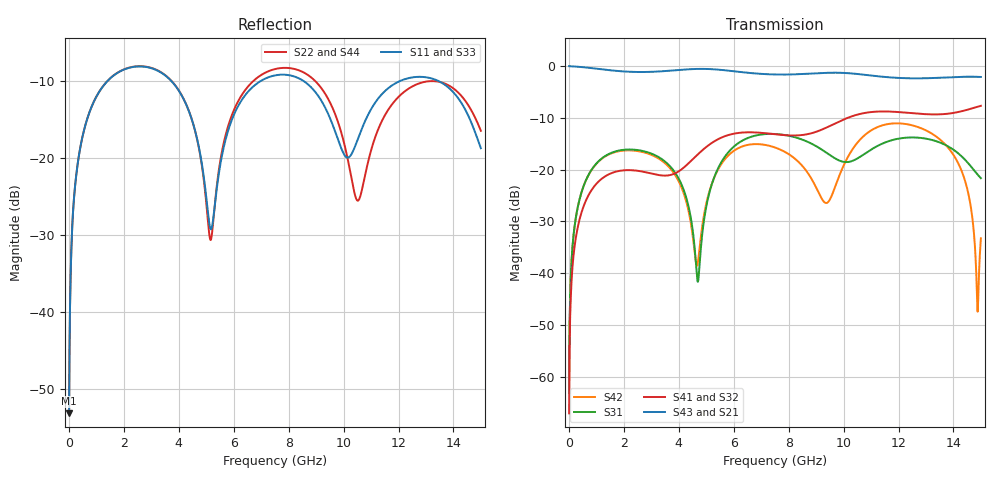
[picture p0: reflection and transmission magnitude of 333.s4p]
! Created with skrf 1.8.0 (http://scikit-rf.org).
# GHz S RI R 50.0
!freq ReS11 ImS11 ReS12 ImS12 ReS13 ImS13
! ReS14 ImS14
! ReS21 ImS21 ReS22 ImS22 ReS23 ImS23
! ReS24 ImS24
! ReS31 ImS31 ReS32 ImS32 ReS33 ImS33
! ReS34 ImS34
! ReS41 ImS41 ReS42 ImS42 ReS43 ImS43
! ReS44 ImS44
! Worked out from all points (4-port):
!   2499 points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, 5 MHz to 15 GHz, reference 50 ohm
!   strongest paths, dB at 5 MHz, 3.476 GHz, 7.19 GHz, 11.1 GHz, 15 GHz:
!     S43: 0.0, -1.0, -1.6, -1.9, -2.1
!     S21: 0.0, -1.0, -1.6, -1.9, -2.1
!     S41: -67.1, -21.2, -13.0, -8.8, -7.7
!     S32: -67.1, -21.2, -13.1, -8.9, -7.7
!     S31: -63.2, -18.4, -13.1, -15.8, -21.7
!     S42: -63.2, -18.7, -15.3, -12.1, -33.3
!   lowest |S11| = -53.2 dB at 5 MHz (marker M1), VSWR 1.00, Z = 50.2 + j0.132 ohm
!   |S11| at or under -10 dB: 3.724 GHz to 6.986 GHz (3.262 GHz wide, 60.9 % of centre); 8.538 GHz to 12.06 GHz (3.523 GHz wide, 34.2 % of centre); 13.45 GHz to end of sweep (the widest 3 of 4)
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0.005  0.00174 0.00132  0.9982 -0.00338  8.76e-05 0.00069  -8.51e-05 -0.000432
       0.9982 -0.00338  0.00174 0.00132  -8.51e-05 -0.000432  8.75e-05 0.00069
       8.76e-05 0.00069  -8.51e-05 -0.000432  0.00174 0.00132  0.9982 -0.00338
       -8.51e-05 -0.000432  8.75e-05 0.00069  0.9982 -0.00338  0.00174 0.00132
0.3626511  0.0333 0.0983  0.954 -0.2412  0.0163 0.0461  -0.0132 -0.0282
           0.954 -0.2412  0.0334 0.0983  -0.0132 -0.0282  0.0157 0.0462
           0.0163 0.0461  -0.0132 -0.0282  0.0333 0.0983  0.954 -0.2412
           -0.0132 -0.0282  0.0157 0.0462  0.954 -0.2412  0.0334 0.0983
1.725719  0.3188 0.1516  0.4293 -0.7898  0.1456 0.0385  -0.0947 0.0138
          0.4293 -0.7898  0.3209 0.1497  -0.0945 0.0136  0.1408 0.0473
          0.1456 0.0385  -0.0945 0.0136  0.3189 0.1515  0.4294 -0.7898
          -0.0947 0.0138  0.1408 0.0473  0.4294 -0.7898  0.3208 0.1498
4.695707  0.0643 -0.1081  -0.876 -0.3383  -0.00823 9.39e-05  -0.0458 0.1328
          -0.876 -0.3383  0.0582 -0.11  -0.0481 0.132  -0.0126 0.00152
          -0.00823 9.39e-05  -0.0481 0.132  0.0642 -0.1081  -0.8759 -0.3384
          -0.0458 0.1328  -0.0126 0.00152  -0.8759 -0.3384  0.0583 -0.11
7.922051  0.3465 -0.00496  -0.0353 0.8273  0.153 -0.15  0.2062 -0.0593
          -0.0353 0.8273  0.3824 -0.0401  0.2055 -0.0529  0.145 -0.00638
          0.153 -0.15  0.2055 -0.0529  0.3456 -0.00862  -0.0357 0.8282
          0.2062 -0.0593  0.145 -0.00638  -0.0357 0.8282  0.3793 -0.0371
10.6857  0.1352 0.0814  0.8277 -0.0467  -0.033 0.1333  -0.0447 -0.346
         0.8277 -0.0467  0.0606 0.0202  -0.0323 -0.3473  0.132 0.1572
         -0.033 0.1333  -0.0323 -0.3473  0.1306 0.0878  0.8276 -0.0473
         -0.0447 -0.346  0.132 0.1572  0.8276 -0.0473  0.0632 0.022
15  0.1034 -0.0515  -0.6505 -0.4388  -0.0764 -0.0314  -0.2129 0.3542
    -0.6505 -0.4388  0.1172 -0.0934  -0.2317 0.342  0.00444 0.0212
    -0.0764 -0.0314  -0.2317 0.342  0.098 -0.0506  -0.6502 -0.4399
    -0.2129 0.3542  0.00444 0.0212  -0.6502 -0.4399  0.1173 -0.09
